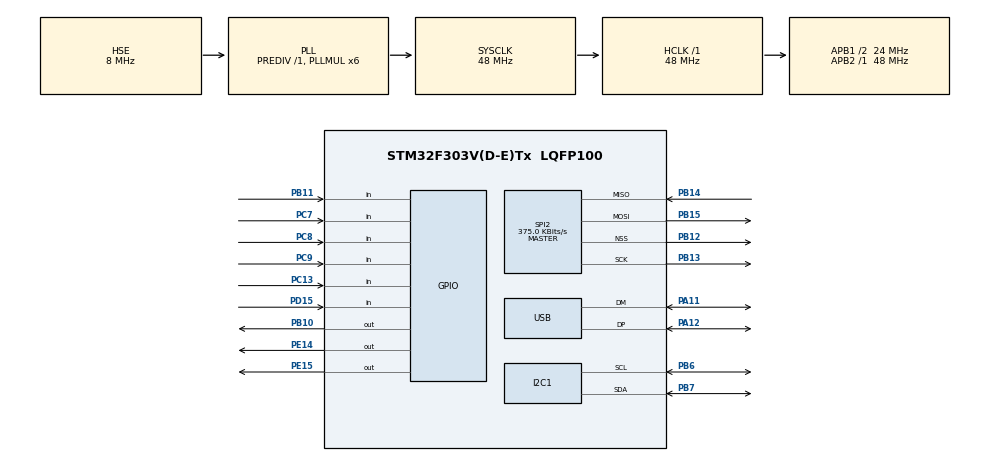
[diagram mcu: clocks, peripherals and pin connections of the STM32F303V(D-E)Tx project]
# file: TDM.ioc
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Mcu.Family=STM32F3
Mcu.Name=STM32F303V(D-E)Tx
Mcu.Package=LQFP100
NVIC.PriorityGroup=NVIC_PRIORITYGROUP_4
NVIC.USB_LP_CAN_RX0_IRQn=true\:0\:0\:false\:false\:true
PA11.Mode=Device
PA11.Signal=USB_DM
PA12.Mode=Device
PA12.Signal=USB_DP
PA13.Mode=Serial_Wire
PA13.Signal=SYS_JTMS-SWDIO
PA14.Mode=Serial_Wire
PA14.Signal=SYS_JTCK-SWCLK
PB10.Signal=GPIO_Output
PB11.Signal=GPIO_Input
PB12.Mode=NSS_Signal_Hard_Output
PB12.Signal=SPI2_NSS
PB13.GPIO_PuPd=GPIO_PULLUP
PB13.Mode=Full_Duplex_Master
PB13.Signal=SPI2_SCK
PB14.GPIO_PuPd=GPIO_PULLUP
PB14.Mode=Full_Duplex_Master
PB14.Signal=SPI2_MISO
PB15.GPIO_PuPd=GPIO_PULLUP
PB15.Mode=Full_Duplex_Master
PB15.Signal=SPI2_MOSI
PB6.Mode=I2C
PB6.Signal=I2C1_SCL
PB7.Mode=I2C
PB7.Signal=I2C1_SDA
PC13.Signal=GPIO_Input
PC14-OSC32_IN.Mode=LSE-External-Oscillator
PC14-OSC32_IN.Signal=RCC_OSC32_IN
PC15-OSC32_OUT.Mode=LSE-External-Oscillator
PC15-OSC32_OUT.Signal=RCC_OSC32_OUT
PC7.Signal=GPIO_Input
PC8.Signal=GPIO_Input
PC9.Signal=GPIO_Input
PD15.Signal=GPIO_Input
PE14.Signal=GPIO_Output
PE15.Signal=GPIO_Output
PF0-OSC_IN.Mode=HSE-External-Oscillator
PF0-OSC_IN.Signal=RCC_OSC_IN
PF1-OSC_OUT.Mode=HSE-External-Oscillator
PF1-OSC_OUT.Signal=RCC_OSC_OUT
ProjectManager.HeapSize=0x800
ProjectManager.StackSize=0x800
ProjectManager.TargetToolchain=MDK-ARM V5
RCC.AHBFreq_Value=48000000
RCC.APB1CLKDivider=RCC_HCLK_DIV2
RCC.APB1Freq_Value=24000000
RCC.APB1TimFreq_Value=48000000
RCC.APB2Freq_Value=48000000
RCC.APB2TimFreq_Value=48000000
RCC.CortexFreq_Value=48000000
RCC.HCLKFreq_Value=48000000
RCC.HSE_VALUE=8000000
RCC.HSI_VALUE=8000000
RCC.PLLMUL=RCC_PLL_MUL6
RCC.SYSCLKFreq_VALUE=48000000
RCC.SYSCLKSourceVirtual=RCC_SYSCLKSOURCE_PLLCLK
RCC.USBFreq_Value=48000000
SPI2.BaudRatePrescaler=SPI_BAUDRATEPRESCALER_64
SPI2.CLKPhase=SPI_PHASE_2EDGE
SPI2.CLKPolarity=SPI_POLARITY_HIGH
SPI2.CalculateBaudRate=375.0 KBits/s
SPI2.DataSize=SPI_DATASIZE_8BIT
SPI2.FirstBit=SPI_FIRSTBIT_MSB
SPI2.Mode=SPI_MODE_MASTER
SPI2.TIMode=SPI_TIMODE_DISABLE
SPI2.VirtualNSS=VM_NSSHARD
USB_DEVICE.CLASS_NAME_FS=CDC
USB_DEVICE.USBD_HandleTypeDef=hUsbDeviceFS
USB_DEVICE.USBD_SELF_POWERED=0
USB_DEVICE.VirtualMode=Cdc
USB_DEVICE.VirtualModeFS=Cdc_FS
VP_USB_DEVICE_VS_USB_DEVICE_CDC_FS.Mode=CDC_FS
board=TDM

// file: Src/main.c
/**
  ******************************************************************************
  * File Name          : main.c
  * Description        : Main program body
  ******************************************************************************
  *
  * COPYRIGHT(c) 2016 STMicroelectronics
  *
  * Redistribution and use in source and binary forms, with or without modification,
  * are permitted provided that the following conditions are met:
  *   1. Redistributions of source code must retain the above copyright notice,
  *      this list of conditions and the following disclaimer.
  *   2. Redistributions in binary form must reproduce the above copyright notice,
  *      this list of conditions and the following disclaimer in the documentation
  *      and/or other materials provided with the distribution.
  *   3. Neither the name of STMicroelectronics nor the names of its contributors
  *      may be used to endorse or promote products derived from this software
  *      without specific prior written permission.
  *
  * THIS SOFTWARE IS PROVIDED BY THE COPYRIGHT HOLDERS AND CONTRIBUTORS "AS IS"
  * AND ANY EXPRESS OR IMPLIED WARRANTIES, INCLUDING, BUT NOT LIMITED TO, THE
  * IMPLIED WARRANTIES OF MERCHANTABILITY AND FITNESS FOR A PARTICULAR PURPOSE ARE
  * DISCLAIMED. IN NO EVENT SHALL THE COPYRIGHT HOLDER OR CONTRIBUTORS BE LIABLE
  * FOR ANY DIRECT, INDIRECT, INCIDENTAL, SPECIAL, EXEMPLARY, OR CONSEQUENTIAL
  * DAMAGES (INCLUDING, BUT NOT LIMITED TO, PROCUREMENT OF SUBSTITUTE GOODS OR
  * SERVICES; LOSS OF USE, DATA, OR PROFITS; OR BUSINESS INTERRUPTION) HOWEVER
  * CAUSED AND ON ANY THEORY OF LIABILITY, WHETHER IN CONTRACT, STRICT LIABILITY,
  * OR TORT (INCLUDING NEGLIGENCE OR OTHERWISE) ARISING IN ANY WAY OUT OF THE USE
  * OF THIS SOFTWARE, EVEN IF ADVISED OF THE POSSIBILITY OF SUCH DAMAGE.
  *
  ******************************************************************************
  */
#include "stm32f3xx_hal.h"
#include "usb_device.h"

/* USER CODE BEGIN Includes */
#include "main.h"
#include "spi_sd.h"
#include "usbd_cdc_if.h"
#include <string.h>

/* USER CODE END Includes */

I2C_HandleTypeDef hi2c1;

SPI_HandleTypeDef hspi2;

/* USER CODE BEGIN PV */
/* Private variables ---------------------------------------------------------*/

uint8_t txOverUsbUart = 0;
uint8_t usbComOutBuf[USB_COM_BUFSIZE];
uint8_t scanIntervalMs = 10;
uint64_t sdWriteAddr = SD_START_ADDR;
uint8_t wrbuf[SD_BLOCK_SIZE];
uint8_t rdBuf[SD_BLOCK_SIZE];
extern uint8_t is_addr_block_idx;

/* USER CODE END PV */

void SystemClock_Config(void);
void Error_Handler(void);
static void MX_GPIO_Init(void);
static void MX_I2C1_Init(void);
static void MX_SPI2_Init(void);

/* USER CODE BEGIN PFP */
/* Private function prototypes -----------------------------------------------*/

/* USER CODE END PFP */

int main(void)
{

  /* MCU Configuration----------------------------------------------------------*/

  /* Reset of all peripherals, Initializes the Flash interface and the Systick. */
  HAL_Init();

  /* Configure the system clock */
  SystemClock_Config();

  /* Initialize all configured peripherals */
  MX_GPIO_Init();
  MX_I2C1_Init();
  MX_SPI2_Init();
  MX_USB_DEVICE_Init();

  /* Infinite loop */
  /* USER CODE BEGIN WHILE */

  uint8_t sdDetected = SD_NOT_PRESENT;
  uint32_t oldTick = 0;
  uint16_t bufDataPos = 0;  // 0 <= pos < SD_BLOCK_SIZE
  SNR_DATA_t dataBlock;
  memset(wrbuf, 0, SD_BLOCK_SIZE);
  LED_R_OFF();
  while (1)
  {
    checkUartBuf();
    uint8_t sdDetect = SD_Detect();
    if (sdDetected != sdDetect)
    {
      if (sdDetect == SD_PRESENT)
      {
        LED_Y_OFF();
        SD_CS_HIGH();
        SD_Init();
        SD_CardInfo cardinfo;
        SD_Error err = SD_GetCardInfo(&cardinfo);
        LIS3DSH_Detect();
        LIS3DSH_Init(LIS3DSH_Sensitivity_2G, LIS3DSH_Filter_800Hz);
        l3g_init();
        l3g_enableDefault();
      }
    }
    sdDetected = sdDetect;
    if (sdDetected != SD_PRESENT)
    {
      LED_Y_ON();
      continue;
    }
  /* USER CODE END WHILE */

  /* USER CODE BEGIN 3 */
    uint32_t newTick = HAL_GetTick();
    if (newTick - oldTick < scanIntervalMs)
    {
      continue;
    }

    oldTick = newTick;

    LIS3DSH_ReadAxes(&(dataBlock.dataLIS3DSH));
    l3g_read(&(dataBlock.dataL3GD20H));

    if (txOverUsbUart == 1)
    {
      if (!USB_DET())
      {
        txOverUsbUart = 0;
      }
      else
      {
        memset(usbComOutBuf, 0, USB_COM_BUFSIZE);
        sprintf((char *)usbComOutBuf, "%6d,%6d,%6d,%6d,%6d,%6d\n",
                dataBlock.dataLIS3DSH.X, dataBlock.dataLIS3DSH.Y, dataBlock.dataLIS3DSH.Z,
                dataBlock.dataL3GD20H.x, dataBlock.dataL3GD20H.y, dataBlock.dataL3GD20H.z);
        CDC_Transmit_FS(usbComOutBuf, strlen((char *)usbComOutBuf));
      }
    }

    memcpy(wrbuf + bufDataPos, &dataBlock, sizeof(SNR_DATA_t));
    bufDataPos += sizeof(SNR_DATA_t);
    if ((bufDataPos + sizeof(SNR_DATA_t)) >= SD_BLOCK_SIZE)
    {
      SD_WriteBlock(wrbuf, sdWriteAddr, SD_BLOCK_SIZE);
      SD_ReadBlock(rdBuf, sdWriteAddr, SD_BLOCK_SIZE);
      if (memcmp(wrbuf, rdBuf, SD_BLOCK_SIZE) != 0)
      {
        Error_Handler();
      }
      if ((sdWriteAddr / SD_BLOCK_SIZE) % 2 == 0)
      {
        LED_G_ON();
      }
      else
      {
        LED_G_OFF();
      }
      sdWriteAddr += SD_BLOCK_SIZE;
      bufDataPos = 0;
    }
  }
  /* USER CODE END 3 */

}

/** System Clock Configuration
*/
void SystemClock_Config(void)
{

  RCC_OscInitTypeDef RCC_OscInitStruct;
  RCC_ClkInitTypeDef RCC_ClkInitStruct;
  RCC_PeriphCLKInitTypeDef PeriphClkInit;

  RCC_OscInitStruct.OscillatorType = RCC_OSCILLATORTYPE_HSI|RCC_OSCILLATORTYPE_HSE;
  RCC_OscInitStruct.HSEState = RCC_HSE_ON;
  RCC_OscInitStruct.HSIState = RCC_HSI_ON;
  RCC_OscInitStruct.HSICalibrationValue = 16;
  RCC_OscInitStruct.PLL.PLLState = RCC_PLL_ON;
  RCC_OscInitStruct.PLL.PLLSource = RCC_PLLSOURCE_HSE;
  RCC_OscInitStruct.PLL.PLLMUL = RCC_PLL_MUL6;
  RCC_OscInitStruct.PLL.PREDIV = RCC_PREDIV_DIV1;
  if (HAL_RCC_OscConfig(&RCC_OscInitStruct) != HAL_OK)
  {
    Error_Handler();
  }

  RCC_ClkInitStruct.ClockType = RCC_CLOCKTYPE_HCLK|RCC_CLOCKTYPE_SYSCLK
                              |RCC_CLOCKTYPE_PCLK1|RCC_CLOCKTYPE_PCLK2;
  RCC_ClkInitStruct.SYSCLKSource = RCC_SYSCLKSOURCE_PLLCLK;
  RCC_ClkInitStruct.AHBCLKDivider = RCC_SYSCLK_DIV1;
  RCC_ClkInitStruct.APB1CLKDivider = RCC_HCLK_DIV2;
  RCC_ClkInitStruct.APB2CLKDivider = RCC_HCLK_DIV1;
  if (HAL_RCC_ClockConfig(&RCC_ClkInitStruct, FLASH_LATENCY_1) != HAL_OK)
  {
    Error_Handler();
  }

  PeriphClkInit.PeriphClockSelection = RCC_PERIPHCLK_USB|RCC_PERIPHCLK_I2C1;
  PeriphClkInit.I2c1ClockSelection = RCC_I2C1CLKSOURCE_HSI;
  PeriphClkInit.USBClockSelection = RCC_USBCLKSOURCE_PLL;
  if (HAL_RCCEx_PeriphCLKConfig(&PeriphClkInit) != HAL_OK)
  {
    Error_Handler();
  }

  HAL_SYSTICK_Config(HAL_RCC_GetHCLKFreq()/1000);

  HAL_SYSTICK_CLKSourceConfig(SYSTICK_CLKSOURCE_HCLK);

  /* SysTick_IRQn interrupt configuration */
  HAL_NVIC_SetPriority(SysTick_IRQn, 0, 0);
}

/* I2C1 init function */
static void MX_I2C1_Init(void)
{

  hi2c1.Instance = I2C1;
  hi2c1.Init.Timing = 0x2000090E;
  hi2c1.Init.OwnAddress1 = 0;
  hi2c1.Init.AddressingMode = I2C_ADDRESSINGMODE_7BIT;
  hi2c1.Init.DualAddressMode = I2C_DUALADDRESS_DISABLE;
  hi2c1.Init.OwnAddress2 = 0;
  hi2c1.Init.OwnAddress2Masks = I2C_OA2_NOMASK;
  hi2c1.Init.GeneralCallMode = I2C_GENERALCALL_DISABLE;
  hi2c1.Init.NoStretchMode = I2C_NOSTRETCH_DISABLE;
  if (HAL_I2C_Init(&hi2c1) != HAL_OK)
  {
    Error_Handler();
  }

    /**Configure Analogue filter
    */
  if (HAL_I2CEx_ConfigAnalogFilter(&hi2c1, I2C_ANALOGFILTER_ENABLE) != HAL_OK)
  {
    Error_Handler();
  }

}

/* SPI2 init function */
static void MX_SPI2_Init(void)
{

  hspi2.Instance = SPI2;
  hspi2.Init.Mode = SPI_MODE_MASTER;
  hspi2.Init.Direction = SPI_DIRECTION_2LINES;
  hspi2.Init.DataSize = SPI_DATASIZE_8BIT;
  hspi2.Init.CLKPolarity = SPI_POLARITY_HIGH;
  hspi2.Init.CLKPhase = SPI_PHASE_2EDGE;
  hspi2.Init.NSS = SPI_NSS_HARD_OUTPUT;
  hspi2.Init.BaudRatePrescaler = SPI_BAUDRATEPRESCALER_64;
  hspi2.Init.FirstBit = SPI_FIRSTBIT_MSB;
  hspi2.Init.TIMode = SPI_TIMODE_DISABLE;
  hspi2.Init.CRCCalculation = SPI_CRCCALCULATION_DISABLE;
  hspi2.Init.CRCPolynomial = 7;
  hspi2.Init.CRCLength = SPI_CRC_LENGTH_DATASIZE;
  hspi2.Init.NSSPMode = SPI_NSS_PULSE_DISABLE;
  if (HAL_SPI_Init(&hspi2) != HAL_OK)
  {
    Error_Handler();
  }

}

/** Configure pins as
        * Analog
        * Input
        * Output
        * EVENT_OUT
        * EXTI
*/
static void MX_GPIO_Init(void)
{

  GPIO_InitTypeDef GPIO_InitStruct;

  /* GPIO Ports Clock Enable */
  __HAL_RCC_GPIOC_CLK_ENABLE();
  __HAL_RCC_GPIOF_CLK_ENABLE();
  __HAL_RCC_GPIOE_CLK_ENABLE();
  __HAL_RCC_GPIOB_CLK_ENABLE();
  __HAL_RCC_GPIOD_CLK_ENABLE();
  __HAL_RCC_GPIOA_CLK_ENABLE();

  /*Configure GPIO pins : PC13 PC7 PC8 PC9 */
  GPIO_InitStruct.Pin = GPIO_PIN_13|GPIO_PIN_7|GPIO_PIN_8|GPIO_PIN_9;
  GPIO_InitStruct.Mode = GPIO_MODE_INPUT;
  GPIO_InitStruct.Pull = GPIO_NOPULL;
  HAL_GPIO_Init(GPIOC, &GPIO_InitStruct);

  /*Configure GPIO pins : PE14 PE15 */
  GPIO_InitStruct.Pin = GPIO_PIN_14|GPIO_PIN_15;
  GPIO_InitStruct.Mode = GPIO_MODE_OUTPUT_PP;
  GPIO_InitStruct.Pull = GPIO_NOPULL;
  GPIO_InitStruct.Speed = GPIO_SPEED_FREQ_LOW;
  HAL_GPIO_Init(GPIOE, &GPIO_InitStruct);

  /*Configure GPIO pin : PB10 */
  GPIO_InitStruct.Pin = GPIO_PIN_10;
  GPIO_InitStruct.Mode = GPIO_MODE_OUTPUT_PP;
  GPIO_InitStruct.Pull = GPIO_NOPULL;
  GPIO_InitStruct.Speed = GPIO_SPEED_FREQ_LOW;
  HAL_GPIO_Init(GPIOB, &GPIO_InitStruct);

  /*Configure GPIO pin : PB11 */
  GPIO_InitStruct.Pin = GPIO_PIN_11;
  GPIO_InitStruct.Mode = GPIO_MODE_INPUT;
  GPIO_InitStruct.Pull = GPIO_NOPULL;
  HAL_GPIO_Init(GPIOB, &GPIO_InitStruct);

  /*Configure GPIO pin : PD15 */
  GPIO_InitStruct.Pin = GPIO_PIN_15;
  GPIO_InitStruct.Mode = GPIO_MODE_INPUT;
  GPIO_InitStruct.Pull = GPIO_NOPULL;
  HAL_GPIO_Init(GPIOD, &GPIO_InitStruct);

  /*Configure GPIO pin Output Level */
  HAL_GPIO_WritePin(GPIOE, GPIO_PIN_14|GPIO_PIN_15, GPIO_PIN_RESET);

  /*Configure GPIO pin Output Level */
  HAL_GPIO_WritePin(GPIOB, GPIO_PIN_10, GPIO_PIN_RESET);

}

/* USER CODE BEGIN 4 */

void checkUartBuf(void)
{
	uint8_t rxMsg[RXCHRBUFSIZE];
	if (getMsg(rxMsg, RXCHRBUFSIZE) > 0)
	{
		int newSetValue = 0;
    int printIndex = 0;
    uint64_t readCmdAddr = 0;
		switch (rxMsg[0])
		{
			case 'p':
			case 'P':
				txOverUsbUart = 0;
				break;
			case 't':
			case 'T':
				txOverUsbUart = 1;
				break;
			case 'i':
			case 'I':
				switch (rxMsg[1])
				{
					case 0:
						break;
					default:
						newSetValue = atoi((const char *)&(rxMsg[1]));
						if ((newSetValue > 0) && (newSetValue < 100) && (newSetValue != scanIntervalMs))
						{
							scanIntervalMs = newSetValue;
						}
						break;
				}
				memset(usbComOutBuf, 0, USB_COM_BUFSIZE);
				sprintf((char *)usbComOutBuf, "scanIntervalMs(ms) = %d\n", scanIntervalMs);
				CDC_Transmit_FS(usbComOutBuf, strlen((char *)usbComOutBuf));
				break;
			case 's':
			case 'S':
				memset(usbComOutBuf, 0, USB_COM_BUFSIZE);
				sprintf((char *)usbComOutBuf, "is_addr_block_idx=%d Current block 0x%012llX\n",
                is_addr_block_idx, sdWriteAddr);
				CDC_Transmit_FS(usbComOutBuf, strlen((char *)usbComOutBuf));
				break;
			case 'h':
			case 'H':
				memset(usbComOutBuf, 0, USB_COM_BUFSIZE);
        sprintf((char *)usbComOutBuf, "T/t    : start data flow on serial port\n");
				CDC_Transmit_FS(usbComOutBuf, strlen((char *)usbComOutBuf));
        HAL_Delay(1);
				memset(usbComOutBuf, 0, USB_COM_BUFSIZE);
        sprintf((char *)usbComOutBuf, "P/p    : stop data flow on serial port\n");
				CDC_Transmit_FS(usbComOutBuf, strlen((char *)usbComOutBuf));
        HAL_Delay(1);
				memset(usbComOutBuf, 0, USB_COM_BUFSIZE);
        sprintf((char *)usbComOutBuf, "I/i    : show scan interval\n");
				CDC_Transmit_FS(usbComOutBuf, strlen((char *)usbComOutBuf));
        HAL_Delay(1);
				memset(usbComOutBuf, 0, USB_COM_BUFSIZE);
        sprintf((char *)usbComOutBuf, "I/ix   : set the scan interval to x ms\n");
				CDC_Transmit_FS(usbComOutBuf, strlen((char *)usbComOutBuf));
        HAL_Delay(1);
				memset(usbComOutBuf, 0, USB_COM_BUFSIZE);
        sprintf((char *)usbComOutBuf, "         example: i15 will set the scan interval to 15 ms\n");
				CDC_Transmit_FS(usbComOutBuf, strlen((char *)usbComOutBuf));
        HAL_Delay(1);
				memset(usbComOutBuf, 0, USB_COM_BUFSIZE);
        sprintf((char *)usbComOutBuf, "S/s    : show SD card start address and current block address\n");
				CDC_Transmit_FS(usbComOutBuf, strlen((char *)usbComOutBuf));
        HAL_Delay(1);
				memset(usbComOutBuf, 0, USB_COM_BUFSIZE);
        sprintf((char *)usbComOutBuf, "R/raddr: read a block at addr\n");
				CDC_Transmit_FS(usbComOutBuf, strlen((char *)usbComOutBuf));
        HAL_Delay(1);
				memset(usbComOutBuf, 0, USB_COM_BUFSIZE);
        sprintf((char *)usbComOutBuf, "         example: r0x00001000 (Note: no space)\n");
				CDC_Transmit_FS(usbComOutBuf, strlen((char *)usbComOutBuf));
        HAL_Delay(1);
				break;
			case 'r':
			case 'R':
				switch (rxMsg[1])
				{
					case 0:
            readCmdAddr = 0ll;
						break;
					default:
						readCmdAddr = strtoull((const char *)&(rxMsg[1]), 0, 16);
						break;
				}
        SD_ReadBlock(rdBuf, readCmdAddr, SD_BLOCK_SIZE);
        memset(usbComOutBuf, 0, USB_COM_BUFSIZE);
        sprintf((char *)usbComOutBuf, "Read addr = 0x%012llX\n", readCmdAddr);
        printIndex = 0;
        CDC_Transmit_FS(usbComOutBuf, strlen((char *)usbComOutBuf));
        while ((printIndex + 12) < SD_BLOCK_SIZE)
        {
          memset(usbComOutBuf, 0, USB_COM_BUFSIZE);
          sprintf((char *)usbComOutBuf, "%6d,%6d,%6d,%6d,%6d,%6d\n",
            *(short *)(rdBuf + printIndex),     *(short *)(rdBuf + printIndex + 2), *(short *)(rdBuf + printIndex + 4),
            *(short *)(rdBuf + printIndex + 6), *(short *)(rdBuf + printIndex + 8), *(short *)(rdBuf + printIndex + 10));
          printIndex += 12;
          CDC_Transmit_FS(usbComOutBuf, strlen((char *)usbComOutBuf));
        }
				break;
			default:
				memset(usbComOutBuf, 0, USB_COM_BUFSIZE);
				sprintf((char *)usbComOutBuf, "Command \'%c\' is not valid.\n", rxMsg[0]);
				CDC_Transmit_FS(usbComOutBuf, strlen((char *)usbComOutBuf));
				break;
		}
	}
}

/* USER CODE END 4 */

void Error_Handler(void)
{
  /* USER CODE BEGIN Error_Handler */
  LED_R_ON();
  /* User can add his own implementation to report the HAL error return state */
  while(1)
  {
  }
  /* USER CODE END Error_Handler */
}

/************************ (C) COPYRIGHT STMicroelectronics *****END OF FILE****/
